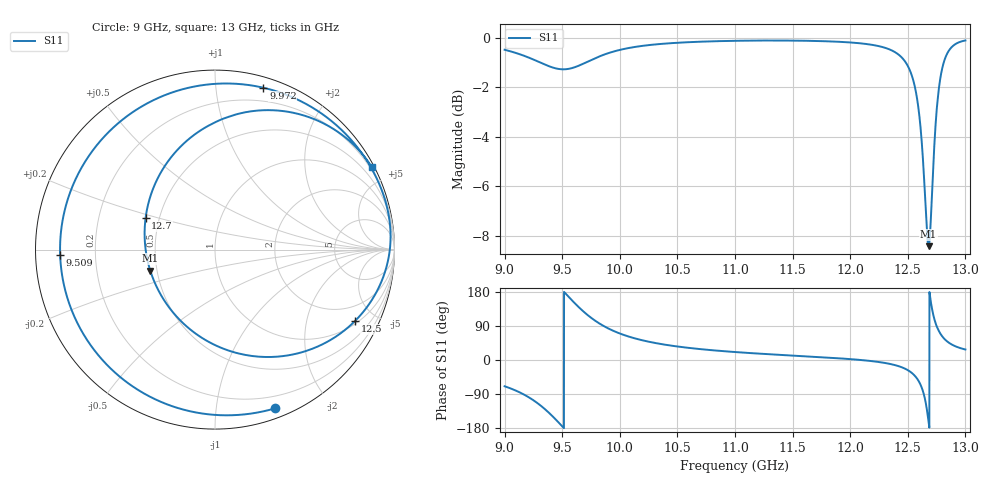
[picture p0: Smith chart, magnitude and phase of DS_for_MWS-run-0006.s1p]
! TOUCHSTONE file generated by CST DESIGN STUDIO
! Date and time: Tue Feb  4 16:12:22 2025
! Project name: C:\Work\MatlabApps\UnitCellOptimizationMatlab\CST\unitcell.cst
! Tree item: Tasks\Sweep1\SPara1\S-Parameters
! Header version: 2024
! Port assignment regex: !\s*Touchstone port\s*([0-9]+)\s*=\s*(CST MWS port|CST DES external port|CST DES block port)\s*(.+)\s* \(\"(.*)\"\)(\s*mode\s*([0-9]+))?.*
! Touchstone port assignment:
! Touchstone port 1 = CST DES external port 1 ("")
# GHz S MA R 50
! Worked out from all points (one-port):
!   4001 points, 9 GHz to 13 GHz, reference 50 ohm
!   lowest |S11| = -8.4 dB at 12.68 GHz (marker M1), VSWR 2.22, Z = 22.9 - j6.24 ohm
!   |S11| at or under -10 dB: nowhere
!   S11 on the Smith chart (normalised r, x): 9 GHz: 0.09, -1.44; 9.509 GHz: 0.07, -0.02; 9.972 GHz: 0.08, +1.34; 12.5 GHz: 1.13, -3.87; 12.7 GHz: 0.42, +0.18; 13 GHz: 0.11, +4.05
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9  0.9456 -69.3
9.168  0.9196 -91.2
9.285  0.8962 -113.8
9.387  0.8755 -139.9
9.5  0.8633 -175.0
9.509  0.8633 -178.0
9.601  0.8705 152.3
9.723  0.8951 118.0
9.831  0.9183 94.9
9.972  0.9413 73.3
10  0.9449 70.0
10.215  0.964 50.7
10.5  0.9768 35.6
11  0.9857 21.0
11.5  0.9867 11.7
12  0.9782 2.4
12.309  0.9531 -8.2
12.5  0.877 -26.7
12.501  0.8761 -26.9
12.567  0.7845 -43.7
12.619  0.6248 -71.3
12.65  0.476 -104.2
12.68  0.3792 -162.1
12.699  0.4249 155.5
12.736  0.639 102.2
12.775  0.8066 73.6
12.861  0.9449 44.7
13  0.9873 27.7
